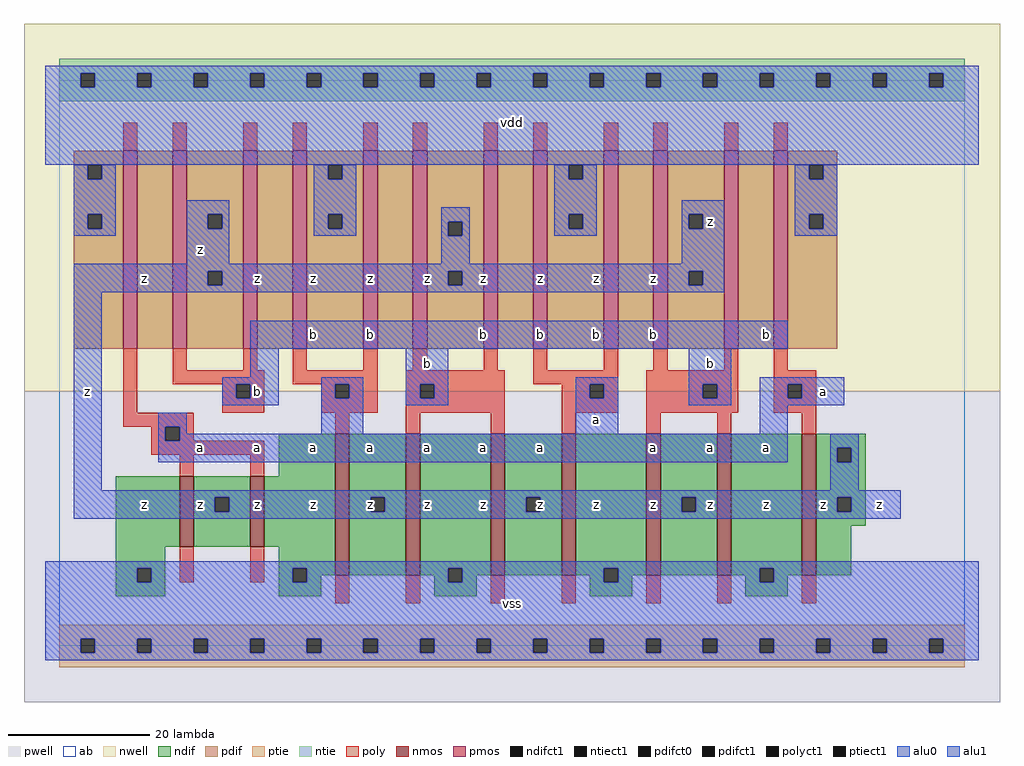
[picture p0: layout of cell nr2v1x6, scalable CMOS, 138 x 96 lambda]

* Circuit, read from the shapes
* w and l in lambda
.subckt nr2v1x6 a b vdd vss z
M1 z a vss vss nfet w=10 l=2 m=2
M2 z a vss vss nfet w=20 l=2 m=3
M3 vss b z vss nfet w=20 l=2 m=4
M4 n1 a vdd vdd pfet w=28 l=2
M5 z b n1 vdd pfet w=28 l=2
M6 n2 b z vdd pfet w=28 l=2
M7 vdd a n2 vdd pfet w=28 l=2
M8 n3 a vdd vdd pfet w=28 l=2
M9 z b n3 vdd pfet w=28 l=2
M10 n4 b z vdd pfet w=28 l=2
M11 vdd a n4 vdd pfet w=28 l=2
M12 n5 a vdd vdd pfet w=28 l=2
M13 z b n5 vdd pfet w=28 l=2
M14 n6 b z vdd pfet w=28 l=2
M15 vdd a n6 vdd pfet w=28 l=2
.ends

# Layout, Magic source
magic
tech scmos
<< ab >>
rect 0 0 128 80
<< nwell >>
rect -5 36 133 88
<< pwell >>
rect -5 -8 133 36
<< poly >>
rect 9 70 11 74
rect 16 70 18 74
rect 26 70 28 74
rect 33 70 35 74
rect 43 70 45 74
rect 50 70 52 74
rect 60 70 62 74
rect 67 70 69 74
rect 77 70 79 74
rect 84 70 86 74
rect 94 70 96 74
rect 101 70 103 74
rect 9 33 11 42
rect 16 39 18 42
rect 26 39 28 42
rect 33 39 35 42
rect 43 39 45 42
rect 50 39 52 42
rect 60 39 62 42
rect 67 39 69 42
rect 77 39 79 42
rect 84 39 86 42
rect 94 39 96 42
rect 16 37 29 39
rect 33 37 45 39
rect 23 35 25 37
rect 27 35 29 37
rect 23 33 29 35
rect 37 35 39 37
rect 41 35 45 37
rect 37 33 45 35
rect 49 37 63 39
rect 67 37 79 39
rect 49 35 51 37
rect 53 35 63 37
rect 49 33 63 35
rect 9 31 19 33
rect 13 29 15 31
rect 17 29 19 31
rect 39 30 41 33
rect 49 30 51 33
rect 61 30 63 33
rect 71 35 75 37
rect 77 35 79 37
rect 71 33 79 35
rect 83 37 96 39
rect 83 35 91 37
rect 93 35 96 37
rect 83 33 96 35
rect 101 39 103 42
rect 101 37 107 39
rect 101 35 103 37
rect 105 35 107 37
rect 101 33 107 35
rect 71 30 73 33
rect 83 30 85 33
rect 93 30 95 33
rect 105 30 107 33
rect 13 27 29 29
rect 17 24 19 27
rect 27 24 29 27
rect 17 9 19 14
rect 27 9 29 14
rect 39 6 41 10
rect 49 6 51 10
rect 61 6 63 10
rect 71 6 73 10
rect 83 6 85 10
rect 93 6 95 10
rect 105 6 107 10
<< ndif >>
rect 31 24 39 30
rect 8 14 17 24
rect 19 21 27 24
rect 19 19 22 21
rect 24 19 27 21
rect 19 14 27 19
rect 29 14 39 24
rect 8 11 15 14
rect 8 9 11 11
rect 13 9 15 11
rect 31 11 39 14
rect 31 9 33 11
rect 35 10 39 11
rect 41 21 49 30
rect 41 19 44 21
rect 46 19 49 21
rect 41 10 49 19
rect 51 11 61 30
rect 51 10 55 11
rect 35 9 37 10
rect 8 7 15 9
rect 31 7 37 9
rect 53 9 55 10
rect 57 10 61 11
rect 63 21 71 30
rect 63 19 66 21
rect 68 19 71 21
rect 63 10 71 19
rect 73 11 83 30
rect 73 10 77 11
rect 57 9 59 10
rect 53 7 59 9
rect 75 9 77 10
rect 79 10 83 11
rect 85 21 93 30
rect 85 19 88 21
rect 90 19 93 21
rect 85 10 93 19
rect 95 11 105 30
rect 95 10 99 11
rect 79 9 81 10
rect 75 7 81 9
rect 97 9 99 10
rect 101 10 105 11
rect 107 28 114 30
rect 107 26 110 28
rect 112 26 114 28
rect 107 21 114 26
rect 107 19 110 21
rect 112 19 114 21
rect 107 17 114 19
rect 107 10 112 17
rect 101 9 103 10
rect 97 7 103 9
<< pdif >>
rect 2 68 9 70
rect 2 66 4 68
rect 6 66 9 68
rect 2 61 9 66
rect 2 59 4 61
rect 6 59 9 61
rect 2 42 9 59
rect 11 42 16 70
rect 18 61 26 70
rect 18 59 21 61
rect 23 59 26 61
rect 18 53 26 59
rect 18 51 21 53
rect 23 51 26 53
rect 18 42 26 51
rect 28 42 33 70
rect 35 68 43 70
rect 35 66 38 68
rect 40 66 43 68
rect 35 61 43 66
rect 35 59 38 61
rect 40 59 43 61
rect 35 42 43 59
rect 45 42 50 70
rect 52 60 60 70
rect 52 58 55 60
rect 57 58 60 60
rect 52 53 60 58
rect 52 51 55 53
rect 57 51 60 53
rect 52 42 60 51
rect 62 42 67 70
rect 69 68 77 70
rect 69 66 72 68
rect 74 66 77 68
rect 69 61 77 66
rect 69 59 72 61
rect 74 59 77 61
rect 69 42 77 59
rect 79 42 84 70
rect 86 61 94 70
rect 86 59 89 61
rect 91 59 94 61
rect 86 53 94 59
rect 86 51 89 53
rect 91 51 94 53
rect 86 42 94 51
rect 96 42 101 70
rect 103 68 110 70
rect 103 66 106 68
rect 108 66 110 68
rect 103 61 110 66
rect 103 59 106 61
rect 108 59 110 61
rect 103 42 110 59
<< alu1 >>
rect -2 81 130 82
rect -2 79 3 81
rect 5 79 11 81
rect 13 79 19 81
rect 21 79 27 81
rect 29 79 35 81
rect 37 79 43 81
rect 45 79 51 81
rect 53 79 59 81
rect 61 79 67 81
rect 69 79 75 81
rect 77 79 83 81
rect 85 79 91 81
rect 93 79 99 81
rect 101 79 107 81
rect 109 79 115 81
rect 117 79 123 81
rect 125 79 130 81
rect -2 68 130 79
rect 18 61 24 63
rect 18 59 21 61
rect 23 59 24 61
rect 18 54 24 59
rect 54 60 58 62
rect 54 58 55 60
rect 57 58 58 60
rect 88 61 94 63
rect 88 59 89 61
rect 91 59 94 61
rect 54 54 58 58
rect 88 54 94 59
rect 2 53 94 54
rect 2 51 21 53
rect 23 51 55 53
rect 57 51 89 53
rect 91 51 94 53
rect 2 50 94 51
rect 2 22 6 50
rect 27 42 103 46
rect 27 38 31 42
rect 23 37 31 38
rect 23 35 25 37
rect 27 35 31 37
rect 23 34 31 35
rect 37 37 43 38
rect 37 35 39 37
rect 41 35 43 37
rect 14 31 18 33
rect 14 29 15 31
rect 17 30 18 31
rect 37 30 43 35
rect 49 37 55 42
rect 49 35 51 37
rect 53 35 55 37
rect 49 34 55 35
rect 73 37 79 38
rect 73 35 75 37
rect 77 35 79 37
rect 73 30 79 35
rect 89 37 95 42
rect 89 35 91 37
rect 93 35 95 37
rect 89 34 95 35
rect 99 37 111 38
rect 99 35 103 37
rect 105 35 111 37
rect 99 34 111 35
rect 99 30 103 34
rect 17 29 103 30
rect 14 26 103 29
rect 109 28 113 30
rect 109 26 110 28
rect 112 26 113 28
rect 109 22 113 26
rect 2 21 119 22
rect 2 19 22 21
rect 24 19 44 21
rect 46 19 66 21
rect 68 19 88 21
rect 90 19 110 21
rect 112 19 119 21
rect 2 18 119 19
rect -2 11 130 12
rect -2 9 11 11
rect 13 9 33 11
rect 35 9 55 11
rect 57 9 77 11
rect 79 9 99 11
rect 101 9 130 11
rect -2 1 130 9
rect -2 -1 3 1
rect 5 -1 11 1
rect 13 -1 19 1
rect 21 -1 27 1
rect 29 -1 35 1
rect 37 -1 43 1
rect 45 -1 51 1
rect 53 -1 59 1
rect 61 -1 67 1
rect 69 -1 75 1
rect 77 -1 83 1
rect 85 -1 91 1
rect 93 -1 99 1
rect 101 -1 107 1
rect 109 -1 115 1
rect 117 -1 123 1
rect 125 -1 130 1
rect -2 -2 130 -1
<< ptie >>
rect 0 1 128 3
rect 0 -1 3 1
rect 5 -1 11 1
rect 13 -1 19 1
rect 21 -1 27 1
rect 29 -1 35 1
rect 37 -1 43 1
rect 45 -1 51 1
rect 53 -1 59 1
rect 61 -1 67 1
rect 69 -1 75 1
rect 77 -1 83 1
rect 85 -1 91 1
rect 93 -1 99 1
rect 101 -1 107 1
rect 109 -1 115 1
rect 117 -1 123 1
rect 125 -1 128 1
rect 0 -3 128 -1
<< ntie >>
rect 0 81 128 83
rect 0 79 3 81
rect 5 79 11 81
rect 13 79 19 81
rect 21 79 27 81
rect 29 79 35 81
rect 37 79 43 81
rect 45 79 51 81
rect 53 79 59 81
rect 61 79 67 81
rect 69 79 75 81
rect 77 79 83 81
rect 85 79 91 81
rect 93 79 99 81
rect 101 79 107 81
rect 109 79 115 81
rect 117 79 123 81
rect 125 79 128 81
rect 0 77 128 79
<< nmos >>
rect 17 14 19 24
rect 27 14 29 24
rect 39 10 41 30
rect 49 10 51 30
rect 61 10 63 30
rect 71 10 73 30
rect 83 10 85 30
rect 93 10 95 30
rect 105 10 107 30
<< pmos >>
rect 9 42 11 70
rect 16 42 18 70
rect 26 42 28 70
rect 33 42 35 70
rect 43 42 45 70
rect 50 42 52 70
rect 60 42 62 70
rect 67 42 69 70
rect 77 42 79 70
rect 84 42 86 70
rect 94 42 96 70
rect 101 42 103 70
<< polyct1 >>
rect 25 35 27 37
rect 39 35 41 37
rect 51 35 53 37
rect 15 29 17 31
rect 75 35 77 37
rect 91 35 93 37
rect 103 35 105 37
<< ndifct1 >>
rect 22 19 24 21
rect 11 9 13 11
rect 33 9 35 11
rect 44 19 46 21
rect 55 9 57 11
rect 66 19 68 21
rect 77 9 79 11
rect 88 19 90 21
rect 99 9 101 11
rect 110 26 112 28
rect 110 19 112 21
<< ntiect1 >>
rect 3 79 5 81
rect 11 79 13 81
rect 19 79 21 81
rect 27 79 29 81
rect 35 79 37 81
rect 43 79 45 81
rect 51 79 53 81
rect 59 79 61 81
rect 67 79 69 81
rect 75 79 77 81
rect 83 79 85 81
rect 91 79 93 81
rect 99 79 101 81
rect 107 79 109 81
rect 115 79 117 81
rect 123 79 125 81
<< ptiect1 >>
rect 3 -1 5 1
rect 11 -1 13 1
rect 19 -1 21 1
rect 27 -1 29 1
rect 35 -1 37 1
rect 43 -1 45 1
rect 51 -1 53 1
rect 59 -1 61 1
rect 67 -1 69 1
rect 75 -1 77 1
rect 83 -1 85 1
rect 91 -1 93 1
rect 99 -1 101 1
rect 107 -1 109 1
rect 115 -1 117 1
rect 123 -1 125 1
<< pdifct0 >>
rect 4 66 6 68
rect 4 59 6 61
rect 38 66 40 68
rect 38 59 40 61
rect 72 66 74 68
rect 72 59 74 61
rect 106 66 108 68
rect 106 59 108 61
<< pdifct1 >>
rect 21 59 23 61
rect 21 51 23 53
rect 55 58 57 60
rect 55 51 57 53
rect 89 59 91 61
rect 89 51 91 53
<< alu0 >>
rect 2 66 4 68
rect 6 66 8 68
rect 2 61 8 66
rect 36 66 38 68
rect 40 66 42 68
rect 2 59 4 61
rect 6 59 8 61
rect 2 58 8 59
rect 36 61 42 66
rect 70 66 72 68
rect 74 66 76 68
rect 36 59 38 61
rect 40 59 42 61
rect 36 58 42 59
rect 70 61 76 66
rect 104 66 106 68
rect 108 66 110 68
rect 70 59 72 61
rect 74 59 76 61
rect 70 58 76 59
rect 104 61 110 66
rect 104 59 106 61
rect 108 59 110 61
rect 104 58 110 59
<< labels >>
rlabel alu1 20 28 20 28 6 a
rlabel alu1 20 20 20 20 6 z
rlabel alu1 12 20 12 20 6 z
rlabel alu1 4 36 4 36 6 z
rlabel alu1 12 52 12 52 6 z
rlabel alu1 20 56 20 56 6 z
rlabel alu1 44 28 44 28 6 a
rlabel alu1 44 20 44 20 6 z
rlabel alu1 36 28 36 28 6 a
rlabel alu1 36 20 36 20 6 z
rlabel alu1 28 28 28 28 6 a
rlabel alu1 28 20 28 20 6 z
rlabel alu1 44 44 44 44 6 b
rlabel alu1 36 44 36 44 6 b
rlabel alu1 28 36 28 36 6 b
rlabel alu1 44 52 44 52 6 z
rlabel alu1 36 52 36 52 6 z
rlabel alu1 28 52 28 52 6 z
rlabel alu1 64 6 64 6 6 vss
rlabel alu1 52 28 52 28 6 a
rlabel alu1 52 20 52 20 6 z
rlabel alu1 68 28 68 28 6 a
rlabel alu1 68 20 68 20 6 z
rlabel alu1 60 28 60 28 6 a
rlabel alu1 60 20 60 20 6 z
rlabel alu1 52 40 52 40 6 b
rlabel alu1 68 44 68 44 6 b
rlabel alu1 60 44 60 44 6 b
rlabel alu1 68 52 68 52 6 z
rlabel alu1 60 52 60 52 6 z
rlabel alu1 52 52 52 52 6 z
rlabel alu1 64 74 64 74 6 vdd
rlabel alu1 76 20 76 20 6 z
rlabel alu1 92 28 92 28 6 a
rlabel alu1 92 20 92 20 6 z
rlabel alu1 84 28 84 28 6 a
rlabel alu1 84 20 84 20 6 z
rlabel alu1 100 28 100 28 6 a
rlabel alu1 100 20 100 20 6 z
rlabel alu1 76 32 76 32 6 a
rlabel alu1 76 44 76 44 6 b
rlabel alu1 92 40 92 40 6 b
rlabel alu1 84 44 84 44 6 b
rlabel alu1 100 44 100 44 6 b
rlabel alu1 84 52 84 52 6 z
rlabel alu1 76 52 76 52 6 z
rlabel alu1 92 60 92 60 6 z
rlabel alu1 116 20 116 20 6 z
rlabel alu1 108 20 108 20 6 z
rlabel alu1 108 36 108 36 6 a
<< end >>
